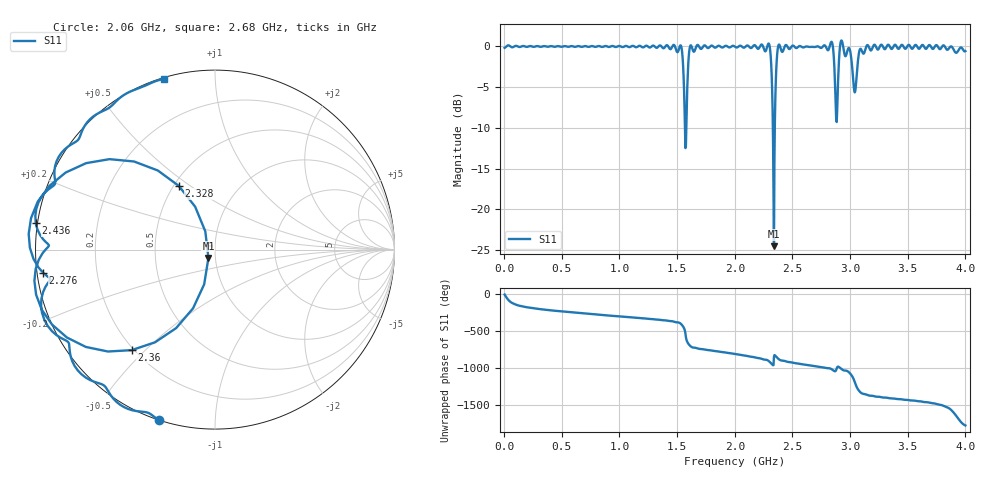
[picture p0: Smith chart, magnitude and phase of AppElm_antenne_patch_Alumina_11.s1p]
! TOUCHSTONE file generated by CST MICROWAVE STUDIO
! Date and time: Thu Jun  9 15:37:43 2022
! Project name: AppElm_antenne_patch_Alumina.cst
! Parameters = {L=30.5; W=41.8; e=0.035; h=1.6; lambda=0.190476; ls=90; w0=1.12; w1=0.373; ws=112.5; y0=14; y1=10}
! Header version: 2018
! Port assignment regex: !\s*Touchstone port\s*([0-9]+)\s*=\s*(CST MWS port|CST DS port)\s*([0-9]+|Zmin|Zmax)\s*\(\"(.*)\"\)(\s*mode\s*([0-9]+))?.*
! Touchstone port assignment:
! Touchstone port 1 = CST MWS port 1 ("")
# GHz S MA R 50
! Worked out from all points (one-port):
!   1000 points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, 4 MHz to 4 GHz, reference 50 ohm
!   lowest |S11| = -24.5 dB at 2.34 GHz (marker M1), VSWR 1.13, Z = 46.3 - j4.33 ohm
!   |S11| at or under -10 dB: 1.568 GHz to 1.58 GHz (11.71 MHz wide, 0.744 % of centre); 2.33 GHz to 2.347 GHz (16.94 MHz wide, 0.724 % of centre)
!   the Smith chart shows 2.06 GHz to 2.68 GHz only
!   S11 on the Smith chart (normalised r, x): 2.06 GHz: -0.00, -0.72; 2.276 GHz: 0.02, -0.07; 2.328 GHz: 0.53, +0.45; 2.36 GHz: 0.19, -0.46; 2.436 GHz: -0.00, +0.07; 2.68 GHz: 0.01, +0.74
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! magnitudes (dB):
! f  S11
! 4 MHz  -0.2
! 504 MHz  0.0
! 1.004 GHz  0.0
! 1.504 GHz  -0.7
! 1.536 GHz  0.0
! 1.572 GHz  -12.5
! 1.608 GHz  -0.3
! 1.624 GHz  0.1
! 2.004 GHz  -0.1
! 2.06 GHz  0.0
! 2.276 GHz  -0.3
! 2.304 GHz  -0.1
! 2.328 GHz  -7.8
! 2.34 GHz  -24.5
! 2.36 GHz  -2.8
! 2.368 GHz  -0.9
! 2.38 GHz  0.2
! 2.436 GHz  0.1
! 2.504 GHz  0.1
! 2.68 GHz  -0.1
! 2.836 GHz  0.6
! 2.88 GHz  -9.1
! 2.924 GHz  0.7
! 3.004 GHz  -0.8
! 3.04 GHz  -5.6
! 3.092 GHz  -0.3
! 3.504 GHz  0.2
! 4 GHz  -0.6
